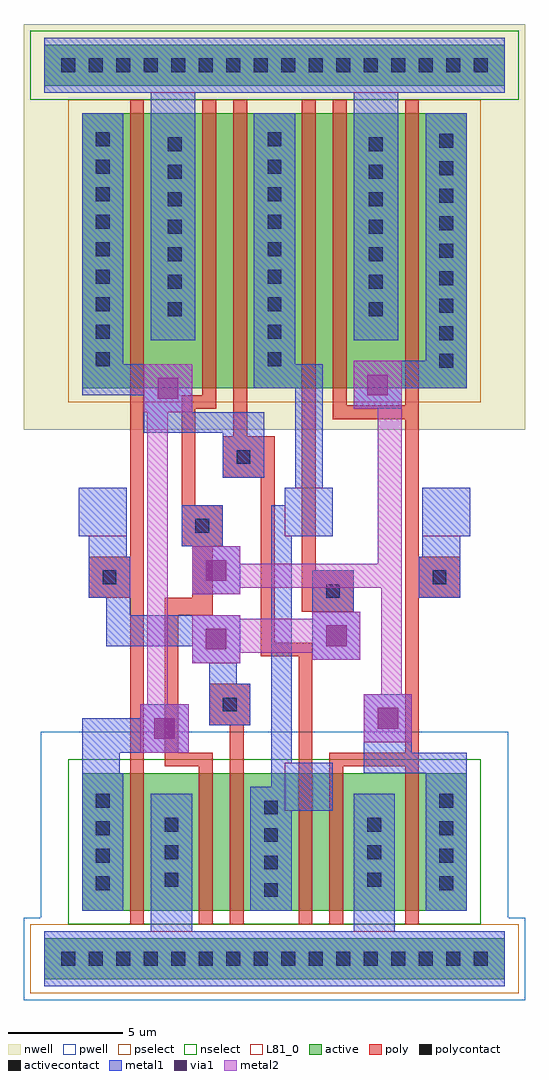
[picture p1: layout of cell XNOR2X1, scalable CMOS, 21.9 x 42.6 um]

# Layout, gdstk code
import gdstk
lib = gdstk.Library(unit=1e-6, precision=1e-09)
def R(c, l, rs):  # rectangles x0, y0, x1, y1
    for r in rs: c.add(gdstk.rectangle(r[:2], r[2:], *l))
def A(c, l, x, y, w, h, nx, ny, dx, dy):  # array of equal rectangles
    R(c, l, [(x+i*dx, y+j*dy, x+i*dx+w, y+j*dy+h) for i in range(nx) for j in range(ny)])
pwell = (41, 0)
nwell = (42, 0)
active = (43, 0)
pselect = (44, 0)
nselect = (45, 0)
poly = (46, 0)
polycontact = (47, 0)
activecontact = (48, 0)
metal1 = (49, 0)
via1 = (50, 0)
metal2 = (51, 0)
L81_0 = (81, 0)

xnor2x1 = lib.new_cell('XNOR2X1')
R(xnor2x1, pwell, [(-1.95,-1.8,19.95,1.8), (-1.2,1.8,19.2,9.9)])
R(xnor2x1, nwell, [(-1.95,23.1,19.95,40.8)])
R(xnor2x1, active, [(-1.05,-0.9,19.05,0.9), (0.6,2.1,17.4,8.1), (0.6,24.9,17.4,36.9), (-1.05,38.1,19.05,39.9)])
R(xnor2x1, pselect, [(-1.65,-1.5,19.65,1.5), (0,24.3,18,37.5)])
R(xnor2x1, nselect, [(0,1.5,18,8.7), (-1.65,37.5,19.65,40.5)])
R(xnor2x1, poly, [(2.7,1.5,3.3,15.75), (5.7,1.5,6.3,8.4), (7.05,1.5,7.65,10.2), (10.05,1.5,10.65,13.2), (11.4,1.5,12,8.4), (14.7,1.5,15.3,8.4), (4.2,8.4,6.3,9), (11.4,8.4,15.3,9), (4.2,9,4.8,15), (14.7,9,15.3,15.75), (6.15,10.2,7.95,12), (8.4,13.2,10.65,13.8), (8.4,13.8,9,21), (4.2,15,6.3,15.75), (10.2,15.15,12.45,16.95), (0.9,15.75,3.3,17.55), (5.4,15.75,6.3,18), (14.7,15.75,17.1,17.55), (10.2,16.95,10.8,37.5), (2.7,17.55,3.3,37.5), (14.7,17.55,15.3,23.55), (4.95,18,6.75,19.8), (4.95,19.8,5.55,24), (6.75,21,9,22.8), (7.2,22.8,7.8,37.5), (11.55,23.55,15.3,24.15), (4.95,24,6.45,24.6), (11.55,24.15,12.15,37.5), (14.7,24.15,15.3,37.5), (5.85,24.6,6.45,37.5)])
R(xnor2x1, polycontact, [(6.75,10.8,7.35,11.4), (11.25,15.75,11.85,16.35), (1.5,16.35,2.1,16.95), (15.9,16.35,16.5,16.95), (5.55,18.6,6.15,19.2), (7.35,21.6,7.95,22.2)])
A(xnor2x1, activecontact, -0.3, -0.3, 0.6, 0.6, 16, 2, 1.2, 39)
A(xnor2x1, activecontact, 8.55, 2.7, 0.6, 0.6, 1, 4, 0, 1.2)
A(xnor2x1, activecontact, 1.2, 3, 0.6, 0.6, 1, 4, 0, 1.2)
A(xnor2x1, activecontact, 16.2, 3, 0.6, 0.6, 1, 4, 0, 1.2)
A(xnor2x1, activecontact, 4.2, 3.15, 0.6, 0.6, 1, 3, 0, 1.2)
A(xnor2x1, activecontact, 13.05, 3.15, 0.6, 0.6, 1, 3, 0, 1.2)
A(xnor2x1, activecontact, 16.2, 25.8, 0.6, 0.6, 1, 9, 0, 1.2)
A(xnor2x1, activecontact, 1.2, 25.87, 0.6, 0.6, 1, 9, 0, 1.2)
A(xnor2x1, activecontact, 8.7, 25.87, 0.6, 0.6, 1, 9, 0, 1.2)
A(xnor2x1, activecontact, 4.35, 28.05, 0.6, 0.6, 1, 7, 0, 1.2)
A(xnor2x1, activecontact, 13.12, 28.05, 0.6, 0.6, 1, 7, 0, 1.2)
R(xnor2x1, metal1, [(-1.05,-1.2,19.05,1.2), (3.6,1.2,5.4,7.2), (12.45,1.2,14.25,7.2), (0.6,2.1,2.4,8.1), (7.95,2.1,9.75,6.45), (15.6,2.1,17.4,8.1), (7.95,6.45,11.55,7.5), (8.85,7.5,11.55,8.55), (0.6,8.1,2.25,9), (12.9,8.1,17.4,9), (8.85,8.55,9.75,18.45), (0.6,9,5.25,10.5), (12.9,9,15,11.55), (6.15,10.2,7.95,12), (3.15,10.5,5.25,11.1), (6.15,12,7.35,12.9), (5.4,12.9,7.5,13.65), (10.65,13.05,12.75,15.15), (1.65,13.65,7.5,15), (1.65,15,2.7,15.75), (10.65,15.15,12.45,16.95), (0.9,15.75,2.7,17.55), (15.3,15.75,17.1,17.55), (5.4,15.9,7.5,18), (0.9,17.55,2.55,18.45), (15.45,17.55,17.1,18.45), (4.95,18,6.75,19.8), (0.45,18.45,2.55,20.55), (8.85,18.45,11.55,19.8), (15.45,18.45,17.55,20.55), (9.45,19.8,11.55,20.55), (9.9,20.55,11.1,24.9), (6.75,21,8.55,22.95), (3.3,22.95,8.55,23.85), (3.3,23.85,5.4,24.6), (12.45,24,14.55,24.9), (0.6,24.6,5.4,25.95), (8.1,24.9,11.1,25.95), (12.45,24.9,17.4,26.1), (0.6,25.95,2.4,36.9), (8.1,25.95,9.9,36.9), (15.6,26.1,17.4,36.9), (3.6,27,5.55,37.8), (12.45,27,14.4,37.8), (-1.05,37.8,19.05,40.2)])
R(xnor2x1, via1, [(3.75,9.6,4.65,10.5), (13.5,10.05,14.4,10.95), (6,13.5,6.9,14.4), (11.25,13.65,12.15,14.55), (6,16.5,6.9,17.4), (3.9,24.45,4.8,25.35), (13.05,24.6,13.95,25.5)])
R(xnor2x1, metal2, [(3.15,9,5.25,11.1), (12.9,9.45,15,11.55), (3.45,11.1,4.35,23.85), (13.65,11.55,14.55,16.2), (5.4,12.9,7.5,13.35), (10.65,13.05,12.75,13.35), (5.4,13.35,12.75,14.85), (5.4,14.85,7.5,15), (10.65,14.85,12.75,15.15), (5.4,15.9,7.5,16.2), (5.4,16.2,14.55,17.25), (5.4,17.25,7.5,18), (13.5,17.25,14.55,24), (3.3,23.85,5.4,25.95), (12.45,24,14.55,26.1)])
R(xnor2x1, L81_0, [(-1.05,-1.2,19.05,1.2), (9.45,6.45,11.55,8.55), (0.45,18.45,2.55,20.55), (9.45,18.45,11.55,20.55), (15.45,18.45,17.55,20.55), (-1.05,37.8,19.05,40.2)])

lib.write_gds('XNOR2X1.gds')
